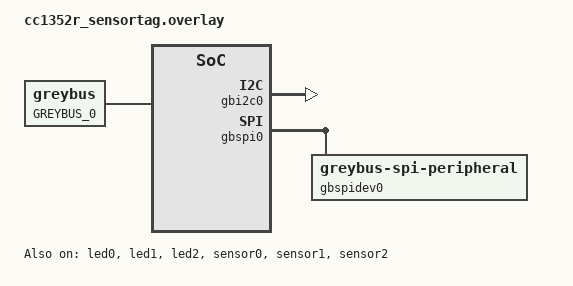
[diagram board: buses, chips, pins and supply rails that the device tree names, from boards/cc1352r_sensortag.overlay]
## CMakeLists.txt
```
# SPDX-License-Identifier: Apache-2.0

cmake_minimum_required(VERSION 3.13.1)
include($ENV{ZEPHYR_BASE}/cmake/app/boilerplate.cmake NO_POLICY_SCOPE)
project(greybus-net)

target_sources(app PRIVATE src/main.c)
```

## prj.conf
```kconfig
CONFIG_NET_HOSTNAME_ENABLE=y
CONFIG_DNS_SD=y
CONFIG_MDNS_RESPONDER=y
CONFIG_MDNS_RESPONDER_DNS_SD=y
CONFIG_NEWLIB_LIBC=y
CONFIG_GREYBUS=y
CONFIG_I2C=y
CONFIG_SPI=y
#CONFIG_GREYBUS_AUDIO=y
#CONFIG_GREYBUS_CAMERA=y
CONFIG_GREYBUS_CONTROL=y
CONFIG_GREYBUS_GPIO=y
#CONFIG_GREYBUS_HID=y
CONFIG_GREYBUS_I2C=y
#CONFIG_GREYBUS_LIGHTS=y
#CONFIG_GREYBUS_LOOPBACK=y
#CONFIG_GREYBUS_POWER_SUPPLY=y
#CONFIG_GREYBUS_PWM=y
#CONFIG_GREYBUS_SDIO=y
CONFIG_GREYBUS_SPI=y
#CONFIG_GREYBUS_UART=y
#CONFIG_GREYBUS_USB=y
#CONFIG_GREYBUS_VIBRATOR=y
CONFIG_CONSOLE_SUBSYS=y
CONFIG_CONSOLE_GETCHAR=y
# Generic networking options
CONFIG_NETWORKING=y
CONFIG_NET_UDP=y
CONFIG_NET_TCP=y
CONFIG_NET_IPV6=y
CONFIG_NET_IPV4=y
CONFIG_NET_SOCKETS=y
CONFIG_NET_SOCKETS_POSIX_NAMES=y
CONFIG_NET_SOCKETS_POLL_MAX=6
CONFIG_POSIX_MAX_FDS=16
CONFIG_NET_CONNECTION_MANAGER=y
CONFIG_NET_MAX_CONN=16

# Kernel options
CONFIG_MAIN_STACK_SIZE=1024
CONFIG_ENTROPY_GENERATOR=y
CONFIG_INIT_STACKS=y

# Logging
CONFIG_NET_LOG=y
CONFIG_LOG=y
CONFIG_NET_STATISTICS=y
CONFIG_PRINTK=y

# Network buffers
CONFIG_NET_PKT_RX_COUNT=16
CONFIG_NET_PKT_TX_COUNT=16
CONFIG_NET_BUF_RX_COUNT=16
CONFIG_NET_BUF_TX_COUNT=16
CONFIG_NET_CONTEXT_NET_PKT_POOL=y

# IP address options
CONFIG_NET_IF_UNICAST_IPV6_ADDR_COUNT=3
CONFIG_NET_IF_MCAST_IPV6_ADDR_COUNT=4
CONFIG_NET_MAX_CONTEXTS=16

# Network shell
CONFIG_NET_SHELL=y
CONFIG_SHELL=y

# Network application options and configuration
CONFIG_NET_CONFIG_SETTINGS=y
CONFIG_NET_CONFIG_MY_IPV6_ADDR="2001:db8::1"
CONFIG_NET_CONFIG_PEER_IPV6_ADDR="2001:db8::2"
CONFIG_NET_CONFIG_MY_IPV4_ADDR="192.0.2.1"
CONFIG_NET_CONFIG_PEER_IPV4_ADDR="192.0.2.2"

# How many client can connect to echo-server simultaneously
#CONFIG_NET_SAMPLE_NUM_HANDLERS=1

# Temporary until automatic thread stack allocation is available
CONFIG_MAX_PTHREAD_COUNT=16
CONFIG_PTHREAD_DYNAMIC_STACK=y
CONFIG_PTHREAD_DYNAMIC_STACK_SIZE=1048
CONFIG_PTHREAD_DYNAMIC_STACK_RESERVED_COUNT=16

#CONFIG_LOG_STRDUP_MAX_STRING=256
#CONFIG_NET_TCP_LOG_LEVEL_DBG=y
#CONFIG_NET_DEBUG_NET_PKT_ALLOC=y
#CONFIG_NET_CONN_LOG_LEVEL_DBG=y
```

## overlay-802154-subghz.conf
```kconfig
CONFIG_BT=n

CONFIG_NET_TCP=y
CONFIG_NET_IPV4=n

CONFIG_NET_CONFIG_NEED_IPV6=y
CONFIG_NET_CONFIG_NEED_IPV4=n
CONFIG_NET_CONFIG_MY_IPV4_ADDR=""
CONFIG_NET_CONFIG_PEER_IPV4_ADDR=""

CONFIG_NET_L2_IEEE802154=y
CONFIG_NET_L2_IEEE802154_SHELL=y
CONFIG_NET_L2_IEEE802154_LOG_LEVEL_INF=y

CONFIG_IEEE802154_CC13XX_CC26XX=n
CONFIG_IEEE802154_CC13XX_CC26XX_SUB_GHZ=y
CONFIG_NET_CONFIG_IEEE802154_DEV_NAME="IEEE802154_1"
CONFIG_IEEE802154_CC13XX_CC26XX_SUB_GHZ_CS_THRESHOLD=-20
CONFIG_NET_CONFIG_IEEE802154_CHANNEL=1
```

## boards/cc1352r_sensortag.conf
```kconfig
CONFIG_GPIO=y
CONFIG_I2C=y
CONFIG_SPI=y
CONFIG_SPI_0=y
```

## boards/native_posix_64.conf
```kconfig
CONFIG_GPIO=y
CONFIG_GPIO_SIM=y
CONFIG_I2C_SIM=y
CONFIG_I2C_0=y
CONFIG_SPI=y
CONFIG_SPI_SIM=y
```

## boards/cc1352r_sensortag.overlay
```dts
/*
 * Copyright (c) 2020 Friedt Professional Engineering Services, Inc
 *
 * SPDX-License-Identifier: Apache-2.0
 */
 #include <dt-bindings/greybus/greybus.h>
 #include <dt-bindings/greybus/spi.h>

/ {
	resources {
		compatible = "test,greybus-i2c";
		test-i2c = <&i2c0>; 
	};

	greybus0: greybus0 {
		compatible = "zephyr,greybus";
		label = "GREYBUS_0";
		greybus;
	};
};

&flash0 {
	status = "okay";
};

&led0 {
	status = "okay";
};

&led1 {
	status = "okay";
};

&led2 {
	status = "okay";
};

&sensor0 {
	status = "okay";
};

&sensor1 {
	status = "okay";
};

&sensor2 {
	status = "okay";
};

&greybus0 {
	status = "okay";
	/* defaults in effect, so this isn't necessary */
	version-major = <GREYBUS_VERSION_MAJOR>;
	version-minor = <GREYBUS_VERSION_MINOR>;

	gbstring1: gbstring1 {
		status = "okay";
		compatible = "zephyr,greybus-string";
		/* NB: string id 0 is invalid */
		id = <1>;
		greybus-string = "Zephyr Project RTOS";
	};

	gbstring2: gbstring2 {
		status = "okay";
		compatible = "zephyr,greybus-string";
		id = <2>;
		greybus-string = "Greybus Service Sample Application";
	};

	gbinterface0 {
		status = "okay";
		compatible = "zephyr,greybus-interface";
		vendor-string-id = <&gbstring1>;
		product-string-id = <&gbstring2>;
		greybus-interface;
	};

	gbbundle0 {
		status = "okay";
		compatible = "zephyr,greybus-bundle";
		greybus-bundle;
		/* Control Bundle 0
		 * Note: control bundle 0 and control cport 0 are optional
		 * Since instance numbers automatically begin at 0, the id
		 * is a mandatory field for bundles and cports.
		 */
		id = <CONTROL_BUNDLE_ID>;
		bundle-class = <BUNDLE_CLASS_CONTROL>;

		gbcontrol0 {
			status = "okay";
			compatible = "zephyr,greybus-control";
			greybus-controller;
			/* Control CPort 0
			 * Note: control bundle 0 and control cport 0 are optional
			 * Since instance numbers automatically begin at 0, the id
			 * is a mandatory field for bundles and cports.
			 */
			id = <CONTROL_CPORT_ID>;
			cport-protocol = <CPORT_PROTOCOL_CONTROL>; 
		};
	};

	gbbundle1 {
		status = "okay";
		compatible = "zephyr,greybus-bundle";
		greybus-bundle;
		id = <1>;
		bundle-class = <BUNDLE_CLASS_BRIDGED_PHY>;		
				
		gbgpio0 {
			status = "okay";
			compatible = "zephyr,greybus-gpio-controller";
			greybus-gpio-controller = <&gpio0>;
			/* GPIO is CPort 1 in this case */
			id = <1>;
			cport-protocol = <CPORT_PROTOCOL_GPIO>;
		};
	};
	
	gbbundle2 {
		status = "okay";
		compatible = "zephyr,greybus-bundle";
		greybus-bundle;
		id = <2>;
		bundle-class = <BUNDLE_CLASS_BRIDGED_PHY>;		
				
		gbi2c0 {
			status = "okay";
			compatible = "zephyr,greybus-i2c-controller";
			greybus-i2c-controller = <&i2c0>;
			/* I2C is CPort 2 in this case */
			id = <2>;
			cport-protocol = <CPORT_PROTOCOL_I2C>;
		};
	};
	
	gbbundle3 {
		status = "okay";
		compatible = "zephyr,greybus-bundle";
		greybus-bundle;
		id = <3>;
		bundle-class = <BUNDLE_CLASS_BRIDGED_PHY>;		
				
		gbspi0 {
			status = "okay";
			compatible = "zephyr,greybus-spi-controller";
			greybus-spi-controller = <&spi0>;
			/* SPI is CPort 3 in this case */
			id = <3>;
			cport-protocol = <CPORT_PROTOCOL_SPI>;

			/*
			 * Entries for struct gb_spi_master_config_response
			 */
			bpw-mask = <0xff>;
			min-speed-hz = <2000000>;
			max-speed-hz = <6000000>;			
			mode = <0>;
			flags = <0>;

			gbspidev0 {
				status = "okay";
				compatible = "zephyr,greybus-spi-peripheral";
				/* cs is used as an array index */				
				cs = <0>;
				
				/*
				 * Entries for struct gb_spi_device_config_response
				 */
				mode = <0>;
				bpw = <8>;
				max-speed-hz = <8000000>;
				device-type = <GB_SPI_SPI_DEV>;
				device-name = "ADXL362";
			};
		};
	};
};
```

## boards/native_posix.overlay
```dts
/*
 * Copyright (c) 2020 Friedt Professional Engineering Services, Inc
 *
 * SPDX-License-Identifier: Apache-2.0
 */
 #include <dt-bindings/greybus/greybus.h>

/ {
	resources {
		compatible = "test,greybus-i2c";
		test-i2c = <&i2c0>; 
	};

	greybus0: greybus0 {
		compatible = "zephyr,greybus";
		label = "GREYBUS_0";
		greybus;
	};
};

&i2c0 {
	status = "okay";

	/*
	eeprom@57 {
		status = "okay";
		compatible = "atmel,at24";
		reg = <0x57>;
		label = "EEPROM_1";
		size = <256>;
		pagesize = <8>;
		address-width = <8>;
		timeout = <5>;
	};
	*/

	hmc5883l@1e {
		compatible = "honeywell,hmc5883l";
		reg = <0x1E>;
		/* int-gpios = <&gpio0 0 GPIO_ACTIVE_LOW>; */
		label = "HMC5883L";
	};
};

&greybus0 {
	status = "okay";
	/* defaults in effect, so this isn't necessary */
	version-major = <GREYBUS_VERSION_MAJOR>;
	version-minor = <GREYBUS_VERSION_MINOR>;

	gbstring0: gbstring0 {
		status = "okay";
		compatible = "zephyr,greybus-string";
		id = <0>;
		greybus-string = "Zephyr Project RTOS";
	};

	gbstring1: gbstring1 {
		status = "okay";
		compatible = "zephyr,greybus-string";
		id = <1>;
		greybus-string = "Greybus Service Sample Application";
	};

	gbinterface0 {
		status = "okay";
		compatible = "zephyr,greybus-interface";
		vendor-string-id = <&gbstring0>;
		product-string-id = <&gbstring1>;
		greybus-interface;
	};

	gbbundle0 {
		status = "okay";
		compatible = "zephyr,greybus-bundle";
		greybus-bundle;
		/* Control Bundle 0
		 * Note: control bundle 0 and control cport 0 are optional
		 * Since instance numbers automatically begin at 0, the id
		 * is a mandatory field for bundles and cports.
		 */
		id = <CONTROL_BUNDLE_ID>;
		bundle-class = <BUNDLE_CLASS_CONTROL>;

		gbcontrol0 {
			status = "okay";
			compatible = "zephyr,greybus-control";
			greybus-controller;
			/* Control CPort 0
			 * Note: control bundle 0 and control cport 0 are optional
			 * Since instance numbers automatically begin at 0, the id
			 * is a mandatory field for bundles and cports.
			 */
			id = <CONTROL_CPORT_ID>;
			cport-protocol = <CPORT_PROTOCOL_CONTROL>; 
		};
	};
	
	gbbundle1 {
		status = "okay";
		compatible = "zephyr,greybus-bundle";
		greybus-bundle;
		id = <1>;
		bundle-class = <BUNDLE_CLASS_BRIDGED_PHY>;		
				
		gbi2c0 {
			status = "okay";
			compatible = "zephyr,greybus-i2c-controller";
			greybus-i2c-controller = <&i2c0>;
			id = <1>;
			cport-protocol = <CPORT_PROTOCOL_I2C>;
		};
	};
};
```

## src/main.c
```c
/*
 * Copyright (c) 2109 Friedt Professional Engineering Services, Inc
 *
 * SPDX-License-Identifier: Apache-2.0
 */

#define DEBUG

#include <errno.h>
#include <stdbool.h>
#include <stdint.h>
#include <stdio.h>
#include <string.h>

#ifdef __ZEPHYR__

#include <zephyr.h>
#include <posix/unistd.h>
#include <posix/pthread.h>

#include <greybus/debug.h>
#include <greybus/greybus.h>
#include <greybus/platform.h>
#include <greybus-utils/manifest.h>

#include <drivers/gpio.h>

#ifdef CONFIG_GREYBUS_STATIC_MANIFEST
#include <greybus/static-manifest.h>
#endif

#define STACK_SIZE 512

static pthread_attr_t control_thread_attr;
static K_THREAD_STACK_DEFINE(control_thread_stack, STACK_SIZE);

static pthread_attr_t gpio_thread_attr;
static K_THREAD_STACK_DEFINE(gpio_thread_stack, STACK_SIZE);

unsigned int sleep(unsigned int seconds)
{
	k_sleep(K_MSEC(1000 * seconds));
	return 0;
}

int usleep(useconds_t usec) {
	k_usleep(usec);
	return 0;
}

#ifdef DEBUG
void perror(const char *s)
{
	printf("%s: %s\n", s, strerror(errno));
}
#endif

#else

#include <netinet/in.h>
#include <poll.h>
#include <pthread.h>
#include <sys/types.h>
#include <sys/socket.h>
#include <unistd.h>

#define ARRAY_SIZE(x) (sizeof(x) / sizeof((x)[0]))

#endif

static void register_gb_platform_drivers()
{
	/* Platform drivers are no longer required.
	 * All that is required is a bijection
	 * of cports and devices */

	const unsigned int cport = 1;
	const char *port = DT_GPIO_LABEL(DT_ALIAS(led0), gpios);
	const unsigned pin = DT_GPIO_PIN(DT_ALIAS(led0), gpios);
	D("led0 = device %s pin %u", port, pin);

	struct device *dev = device_get_binding(port);
	__ASSERT(dev != NULL, "failed to get Device Tree binding for led0");
	D("led0 device %s is bound to %p", port, dev);

	int r = gb_add_cport_device_mapping(cport, dev);
	(void)r;
	__ASSERT(r == 0, "failed to add (cport: %u dev: %p", cport, dev);

	D("mapped cport %u to device %s", cport, port);
}

static int gbsetup(void)
{
	int r;
	void *manifest;
	size_t manifest_size;

	D("Registering platform drivers..");
	register_gb_platform_drivers();

	D("Getting static manifest blob..");
	manifest = get_manifest_blob();
	manifest_size = (size_t)manifest_mnfb_len;

	D("Parsing manifest..");
	r = manifest_parse(manifest, manifest_size);
	if (true != r) {
		D("failed to parse manifest");
		return -EINVAL;
	}
	D("Parsed manifest");

	D("Updating manifest blob..");
	set_manifest_blob(manifest);

	D("Initializing Greybus..");
	
	struct gb_transport_backend *xport = gb_transport_backend_init(2);
	if (xport == NULL) {
		D("gb_transport_get_backend() failed");
		return -EIO;
	}

	r = gb_init((struct gb_transport_backend *)xport);
	if (0 != r) {
		D("gb_init() failed (%d)", r);
		return r;
	}

	D("Enabling Cports..");
	enable_cports();

	D("Greybus is active.");

	return 0;
}

int main(int argc, char *argv[])
{
	int r;

	r = gbsetup();
	if (r < 0 ) {
		return r;		
	}

	for(;;);
}
```
